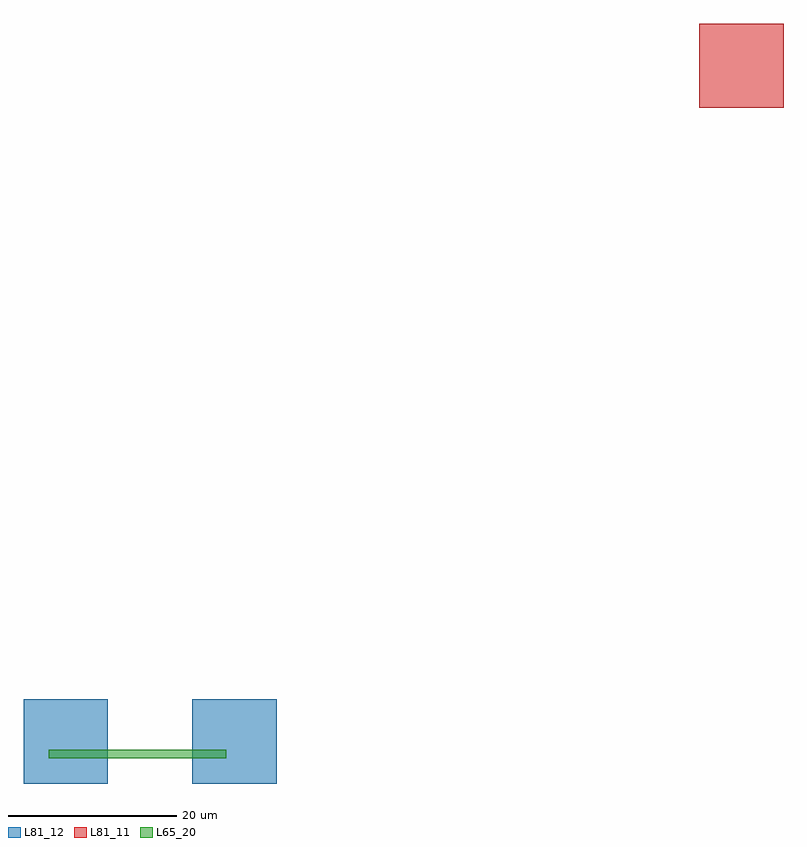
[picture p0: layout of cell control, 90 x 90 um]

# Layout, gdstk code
import gdstk
lib = gdstk.Library(unit=1e-6, precision=1e-09)
def R(c, l, rs):  # rectangles x0, y0, x1, y1
    for r in rs: c.add(gdstk.rectangle(r[:2], r[2:], *l))
L65_20 = (65, 20)
L81_11 = (81, 11)
L81_12 = (81, 12)

control = lib.new_cell('control')
R(control, L65_20, [(3,3,4,4), (4,3,23,4), (23,3,24,4)])
R(control, L81_11, [(80,80,90,90)])
R(control, L81_12, [(0,0,10,10), (20,0,30,10)])

lib.write_gds('control.gds')
